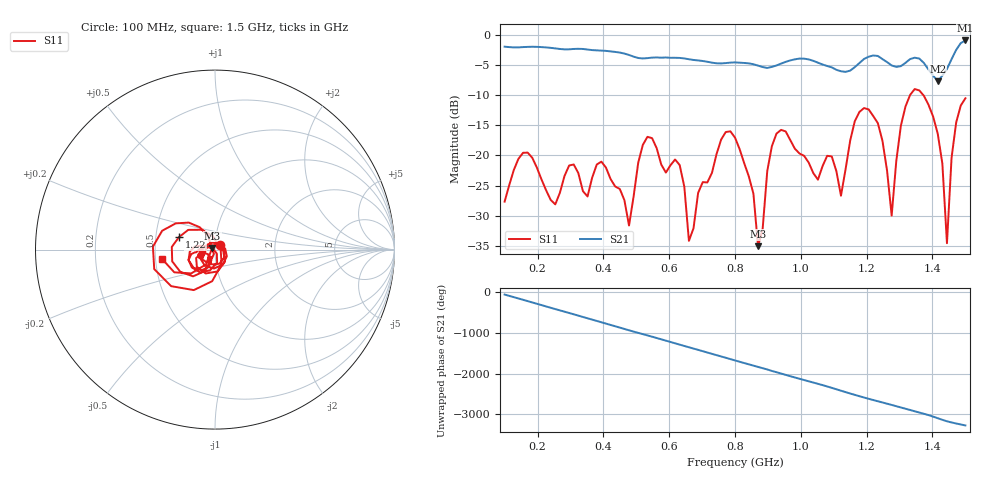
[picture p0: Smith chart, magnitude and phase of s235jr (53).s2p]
! NanoVNA-App
! Date: 2025-09-26 09:45:12
! Start: 100MHz Stop: 1,5GHz Points: 101
! S-Parameter data: F S11 S21 S12 S22
# Hz S RI R 50
!  Frequency  S11_Real  S11_Imag  S21_Real  S21_Imag  S12_Real  S12_Imag  S22_Real  S22_Imag
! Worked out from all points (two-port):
!   101 points, 100 MHz to 1.5 GHz, reference 50 ohm
!   highest |S21| = -0.92 dB at 1.5 GHz (marker M1); lowest = -7.7 dB at 1.416 GHz (marker M2)
!   |S21| within 3 dB of the highest: start of sweep to 648.1 MHz; 1.194 GHz to 1.246 GHz (51.05 MHz wide, 4.18 % of centre)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
!   lowest |S11| = -35.0 dB at 870 MHz (marker M3), VSWR 1.04, Z = 48.5 + j0.948 ohm
!   |S11| at or under -10 dB: start of sweep to 1.332 GHz; 1.372 GHz to end of sweep
!   S12 and S22 are empty: the file has one direction only
!   S11 on the Smith chart (normalised r, x): 100 MHz: 1.06, +0.06; 1.22 GHz: 0.66, +0.10; 1.5 GHz: 0.54, -0.06
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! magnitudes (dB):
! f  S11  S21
! 100 MHz  -27.6  -2.0
! 156 MHz  -19.6  -2.0
! 338 MHz  -25.9  -2.3
! 394 MHz  -21.0  -2.6
! 478 MHz  -31.6  -3.3
! 520 MHz  -18.2  -3.9
! 576 MHz  -21.5  -3.8
! 632 MHz  -21.6  -3.8
! 660 MHz  -34.2  -4.0
! 800 MHz  -17.0  -4.6
! 870 MHz  -35.0  -5.1
! 926 MHz  -16.4  -5.1
! 1.038 GHz  -22.9  -4.3
! 1.122 GHz  -26.7  -6.0
! 1.164 GHz  -14.3  -5.3
! 1.22 GHz  -13.5  -3.4
! 1.276 GHz  -30.0  -5.1
! 1.332 GHz  -10.0  -4.0
! 1.416 GHz  -16.4  -7.7
! 1.444 GHz  -34.5  -5.7
! 1.458 GHz  -20.4  -4.0
! 1.5 GHz  -10.5  -0.9
